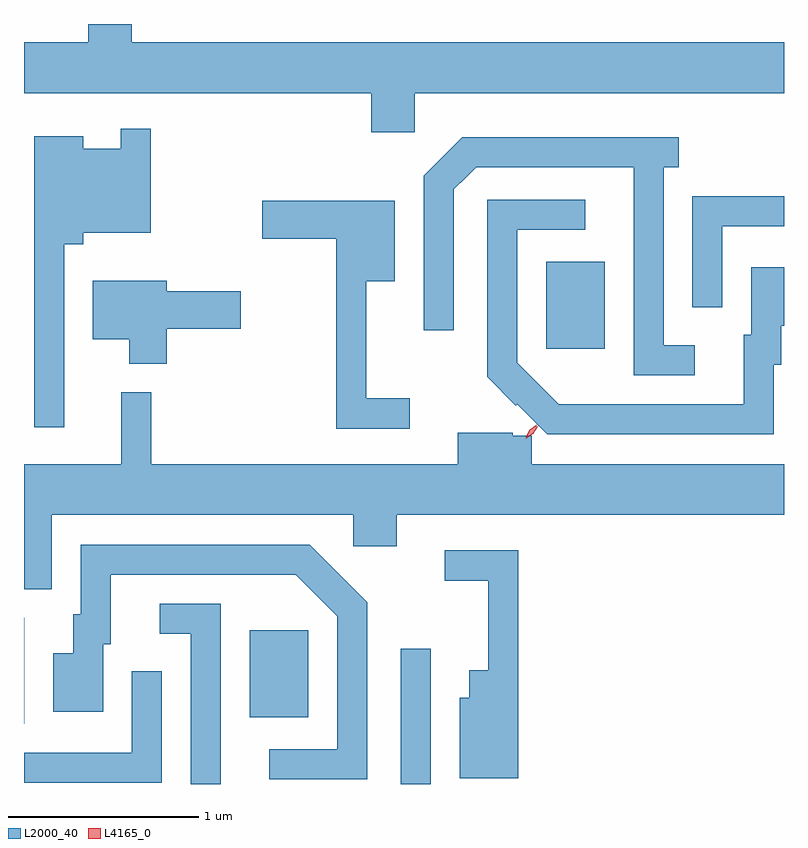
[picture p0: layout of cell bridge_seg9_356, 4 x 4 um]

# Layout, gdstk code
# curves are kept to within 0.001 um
import gdstk
lib = gdstk.Library(unit=1e-6, precision=1e-09)
def R(c, l, rs):  # rectangles x0, y0, x1, y1
    for r in rs: c.add(gdstk.rectangle(r[:2], r[2:], *l))
def P(c, l, *ps):  # polygons
    for p in ps: c.add(gdstk.Polygon(p, *l))
L2000_40 = (2000, 40)
L4165_0 = (4165, 0)

bridge_seg9_356 = lib.new_cell('bridge_seg9_356')
R(bridge_seg9_356, L2000_40, [(1063.666,1959.32,1063.824,1960.033), (1061.683,1959.636,1061.684,1960.194), (1062.871,1959.671,1063.179,1960.129), (1064.431,1961.611,1064.739,1962.069)])
P(bridge_seg9_356, L2000_40, [(1063.739,1962.956),(1065.683,1962.956),(1065.683,1963.224),(1062.249,1963.224),(1062.249,1963.32),(1062.021,1963.32),(1062.021,1963.224),(1061.683,1963.224),(1061.683,1962.956),(1063.511,1962.956),(1063.511,1962.751),(1063.739,1962.751)],
  [(1061.894,1962.161),(1061.994,1962.161),(1061.994,1962.221),(1062.349,1962.221),(1062.349,1962.768),(1062.191,1962.768),(1062.191,1962.664),(1061.994,1962.664),(1061.994,1962.729),(1061.736,1962.729),(1061.736,1961.198),(1061.894,1961.198)],
  [(1065.213,1961.629),(1065.049,1961.629),(1065.049,1962.566),(1065.128,1962.566),(1065.128,1962.724),(1063.989,1962.724),(1063.786,1962.522),(1063.786,1961.708),(1063.944,1961.708),(1063.944,1962.449),(1064.062,1962.566),(1064.891,1962.566),(1064.891,1961.471),(1065.213,1961.471)],
  [(1065.359,1962.256),(1065.683,1962.256),(1065.683,1962.414),(1065.201,1962.414),(1065.201,1961.828),(1065.359,1961.828)],
  [(1065.629,1961.526),(1065.669,1961.526),(1065.669,1961.731),(1065.683,1961.731),(1065.683,1962.039),(1065.511,1962.039),(1065.511,1961.684),(1065.471,1961.684),(1065.471,1961.319),(1064.497,1961.319),(1064.279,1961.537),(1064.279,1962.236),(1064.638,1962.236),(1064.638,1962.394),(1064.121,1962.394),(1064.121,1961.464),(1064.272,1961.312),(1064.279,1961.319),(1064.438,1961.161),(1065.629,1961.161)],
  [(1063.713,1961.349),(1063.484,1961.349),(1063.484,1961.966),(1063.634,1961.966),(1063.634,1962.389),(1062.936,1962.389),(1062.936,1962.191),(1063.326,1962.191),(1063.326,1961.191),(1063.713,1961.191)],
  [(1062.434,1961.716),(1062.824,1961.716),(1062.824,1961.914),(1062.434,1961.914),(1062.434,1961.969),(1062.046,1961.969),(1062.046,1961.661),(1062.236,1961.661),(1062.236,1961.531),(1062.434,1961.531)],
  [(1061.829,1960.736),(1063.416,1960.736),(1063.416,1960.571),(1063.644,1960.571),(1063.644,1960.736),(1065.683,1960.736),(1065.683,1961.004),(1064.356,1961.004),(1064.356,1961.153),(1064.256,1961.153),(1064.256,1961.168),(1063.966,1961.168),(1063.966,1961.004),(1062.354,1961.004),(1062.354,1961.383),(1062.196,1961.383),(1062.196,1961.004),(1061.683,1961.004),(1061.683,1960.346),(1061.829,1960.346)],
  [(1063.489,1960.277),(1063.187,1960.579),(1061.981,1960.579),(1061.981,1960.214),(1061.941,1960.214),(1061.941,1960.009),(1061.836,1960.009),(1061.836,1959.701),(1062.099,1959.701),(1062.099,1960.056),(1062.139,1960.056),(1062.139,1960.421),(1063.114,1960.421),(1063.331,1960.204),(1063.331,1959.504),(1062.973,1959.504),(1062.973,1959.346),(1063.489,1959.346)],
  [(1064.284,1960.549),(1063.898,1960.549),(1063.898,1960.391),(1064.126,1960.391),(1064.126,1959.919),(1064.026,1959.919),(1064.026,1959.774),(1063.976,1959.774),(1063.976,1959.351),(1064.284,1959.351)],
  [(1062.719,1960.269),(1062.398,1960.269),(1062.398,1960.111),(1062.561,1960.111),(1062.561,1959.32),(1062.719,1959.32)],
  [(1062.409,1959.913),(1062.251,1959.913),(1062.251,1959.484),(1061.683,1959.484),(1061.683,1959.326),(1062.409,1959.326)])
P(bridge_seg9_356, L4165_0, [(1064.323,1961.144),(1064.323,1961.145),(1064.345,1961.184),(1064.381,1961.21),(1064.382,1961.21),(1064.382,1961.209),(1064.36,1961.17),(1064.324,1961.144)],
  [(1064.323,1961.137),(1064.323,1961.138),(1064.35,1961.178),(1064.389,1961.206),(1064.39,1961.206),(1064.39,1961.205),(1064.364,1961.164),(1064.324,1961.137)])

lib.write_gds('bridge_seg9_356.gds')
